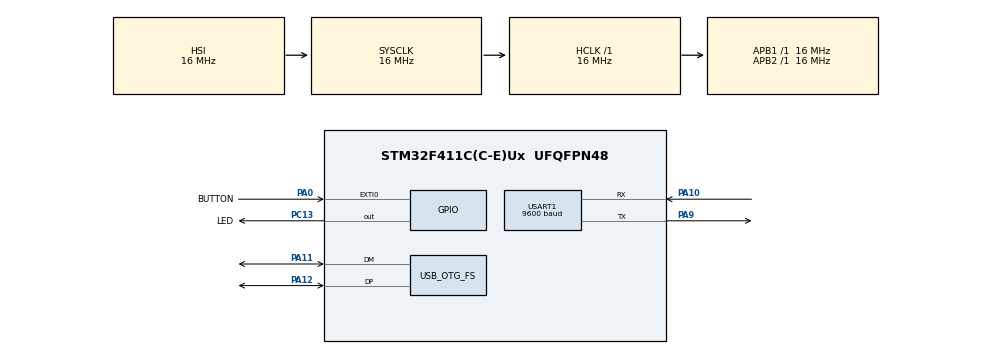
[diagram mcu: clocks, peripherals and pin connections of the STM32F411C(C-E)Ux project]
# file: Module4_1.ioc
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Mcu.Family=STM32F4
Mcu.Name=STM32F411C(C-E)Ux
Mcu.Package=UFQFPN48
NVIC.EXTI0_IRQn=true\:0\:0\:false\:false\:true\:true\:true\:true
NVIC.PriorityGroup=NVIC_PRIORITYGROUP_4
NVIC.USART1_IRQn=true\:0\:0\:false\:false\:true\:true\:true\:true
PA0-WKUP.GPIO_Label=BUTTON
PA0-WKUP.GPIO_ModeDefaultEXTI=GPIO_MODE_IT_FALLING
PA0-WKUP.GPIO_PuPd=GPIO_PULLUP
PA0-WKUP.Signal=GPXTI0
PA10.Mode=Asynchronous
PA10.Signal=USART1_RX
PA11.Mode=Device_Only
PA11.Signal=USB_OTG_FS_DM
PA12.Mode=Device_Only
PA12.Signal=USB_OTG_FS_DP
PA9.Mode=Asynchronous
PA9.Signal=USART1_TX
PC13-ANTI_TAMP.GPIO_Label=LED
PC13-ANTI_TAMP.Signal=GPIO_Output
ProjectManager.HeapSize=0x200
ProjectManager.StackSize=0x400
ProjectManager.TargetToolchain=STM32CubeIDE
RCC.AHBFreq_Value=16000000
RCC.APB1Freq_Value=16000000
RCC.APB2Freq_Value=16000000
RCC.CortexFreq_Value=16000000
RCC.HSE_VALUE=25000000
RCC.HSI_VALUE=16000000
RCC.LSE_VALUE=32768
RCC.PLLSource=RCC_PLLSOURCE_HSI
RCC.PLLSourceVirtualString=RCC_PLLSOURCE_HSI
RCC.SYSCLKFreq_VALUE=16000000
RCC.VCOOutputFreq_Value=192000000
USART1.BaudRate=9600
USART1.VirtualMode=VM_ASYNC
USB_OTG_FS.VirtualMode=Device_Only
board=custom

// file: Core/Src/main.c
/* USER CODE BEGIN Header */
/**
  * @file           : main.c
  * @brief          : STM32F411 <-> ESP32 через UART (LED + кнопка)
  */
/* USER CODE END Header */
#include "main.h"

/* USER CODE BEGIN PD */
#define CMD_LED_ON     '1'
#define CMD_LED_OFF    '0'
#define DEBOUNCE_MS    50

#define LED_ON()       HAL_GPIO_WritePin(LED_GPIO_Port, LED_Pin, GPIO_PIN_SET)
#define LED_OFF()      HAL_GPIO_WritePin(LED_GPIO_Port, LED_Pin, GPIO_PIN_RESET)
/* USER CODE END PD */

UART_HandleTypeDef huart1;

PCD_HandleTypeDef hpcd_USB_OTG_FS;

/* USER CODE BEGIN PV */
uint8_t rx_byte;

volatile uint8_t  button_pressed = 0;
volatile uint32_t last_press_time = 0;

/* USER CODE END PV */

void SystemClock_Config(void);
static void MX_GPIO_Init(void);
static void MX_USART1_UART_Init(void);
static void MX_USB_OTG_FS_PCD_Init(void);

int main(void)
{

  HAL_Init();

  SystemClock_Config();

  MX_GPIO_Init();
  MX_USART1_UART_Init();
  MX_USB_OTG_FS_PCD_Init();
  /* USER CODE BEGIN 2 */
  LED_OFF();
  HAL_UART_Receive_IT(&huart1, &rx_byte, 1);
  /* USER CODE END 2 */

  /* USER CODE BEGIN WHILE */
  uint8_t esp_led_state = 0;

  while (1)
  {
    /* USER CODE END WHILE */

    /* USER CODE BEGIN 3 */
    if (button_pressed)
    {
      button_pressed = 0;

      esp_led_state = !esp_led_state;
      uint8_t cmd = esp_led_state ? CMD_LED_ON : CMD_LED_OFF;
      HAL_UART_Transmit(&huart1, &cmd, 1, 100);
    }
  }
  /* USER CODE END 3 */
}

void SystemClock_Config(void)
{
  RCC_OscInitTypeDef RCC_OscInitStruct = {0};
  RCC_ClkInitTypeDef RCC_ClkInitStruct = {0};

  __HAL_RCC_PWR_CLK_ENABLE();
  __HAL_PWR_VOLTAGESCALING_CONFIG(PWR_REGULATOR_VOLTAGE_SCALE1);

  RCC_OscInitStruct.OscillatorType = RCC_OSCILLATORTYPE_HSI;
  RCC_OscInitStruct.HSIState = RCC_HSI_ON;
  RCC_OscInitStruct.HSICalibrationValue = RCC_HSICALIBRATION_DEFAULT;
  RCC_OscInitStruct.PLL.PLLState = RCC_PLL_ON;
  RCC_OscInitStruct.PLL.PLLSource = RCC_PLLSOURCE_HSI;
  RCC_OscInitStruct.PLL.PLLM = 16;
  RCC_OscInitStruct.PLL.PLLN = 192;
  RCC_OscInitStruct.PLL.PLLP = RCC_PLLP_DIV2;
  RCC_OscInitStruct.PLL.PLLQ = 4;
  if (HAL_RCC_OscConfig(&RCC_OscInitStruct) != HAL_OK)
  {
    Error_Handler();
  }

  RCC_ClkInitStruct.ClockType = RCC_CLOCKTYPE_HCLK|RCC_CLOCKTYPE_SYSCLK
                              |RCC_CLOCKTYPE_PCLK1|RCC_CLOCKTYPE_PCLK2;
  RCC_ClkInitStruct.SYSCLKSource = RCC_SYSCLKSOURCE_HSI;
  RCC_ClkInitStruct.AHBCLKDivider = RCC_SYSCLK_DIV1;
  RCC_ClkInitStruct.APB1CLKDivider = RCC_HCLK_DIV1;
  RCC_ClkInitStruct.APB2CLKDivider = RCC_HCLK_DIV1;

  if (HAL_RCC_ClockConfig(&RCC_ClkInitStruct, FLASH_LATENCY_0) != HAL_OK)
  {
    Error_Handler();
  }
}

static void MX_USART1_UART_Init(void)
{

  huart1.Instance = USART1;
  huart1.Init.BaudRate = 9600;
  huart1.Init.WordLength = UART_WORDLENGTH_8B;
  huart1.Init.StopBits = UART_STOPBITS_1;
  huart1.Init.Parity = UART_PARITY_NONE;
  huart1.Init.Mode = UART_MODE_TX_RX;
  huart1.Init.HwFlowCtl = UART_HWCONTROL_NONE;
  huart1.Init.OverSampling = UART_OVERSAMPLING_16;
  if (HAL_UART_Init(&huart1) != HAL_OK)
  {
    Error_Handler();
  }
}

static void MX_USB_OTG_FS_PCD_Init(void)
{

  hpcd_USB_OTG_FS.Instance = USB_OTG_FS;
  hpcd_USB_OTG_FS.Init.dev_endpoints = 4;
  hpcd_USB_OTG_FS.Init.speed = PCD_SPEED_FULL;
  hpcd_USB_OTG_FS.Init.dma_enable = DISABLE;
  hpcd_USB_OTG_FS.Init.phy_itface = PCD_PHY_EMBEDDED;
  hpcd_USB_OTG_FS.Init.Sof_enable = DISABLE;
  hpcd_USB_OTG_FS.Init.low_power_enable = DISABLE;
  hpcd_USB_OTG_FS.Init.lpm_enable = DISABLE;
  hpcd_USB_OTG_FS.Init.vbus_sensing_enable = DISABLE;
  hpcd_USB_OTG_FS.Init.use_dedicated_ep1 = DISABLE;
  if (HAL_PCD_Init(&hpcd_USB_OTG_FS) != HAL_OK)
  {
    Error_Handler();
  }
}

static void MX_GPIO_Init(void)
{
  GPIO_InitTypeDef GPIO_InitStruct = {0};

  __HAL_RCC_GPIOC_CLK_ENABLE();
  __HAL_RCC_GPIOA_CLK_ENABLE();

  HAL_GPIO_WritePin(LED_GPIO_Port, LED_Pin, GPIO_PIN_RESET);

  GPIO_InitStruct.Pin = LED_Pin;
  GPIO_InitStruct.Mode = GPIO_MODE_OUTPUT_PP;
  GPIO_InitStruct.Pull = GPIO_NOPULL;
  GPIO_InitStruct.Speed = GPIO_SPEED_FREQ_LOW;
  HAL_GPIO_Init(LED_GPIO_Port, &GPIO_InitStruct);

  GPIO_InitStruct.Pin = BUTTON_Pin;
  GPIO_InitStruct.Mode = GPIO_MODE_IT_FALLING;
  GPIO_InitStruct.Pull = GPIO_PULLUP;
  HAL_GPIO_Init(BUTTON_GPIO_Port, &GPIO_InitStruct);

  HAL_NVIC_SetPriority(EXTI0_IRQn, 0, 0);
  HAL_NVIC_EnableIRQ(EXTI0_IRQn);

}

/* USER CODE BEGIN 4 */

// Button interrupt
void HAL_GPIO_EXTI_Callback(uint16_t GPIO_Pin)
{
  if (GPIO_Pin == BUTTON_Pin)
  {
    uint32_t now = HAL_GetTick();

    if (now - last_press_time > DEBOUNCE_MS)
    {
      button_pressed = 1;
      last_press_time = now;
    }
  }
}

void HAL_UART_RxCpltCallback(UART_HandleTypeDef *huart)
{
  if (huart->Instance == USART1)
  {
    if (rx_byte == CMD_LED_ON)
    {
      LED_ON();
    }
    else if (rx_byte == CMD_LED_OFF)
    {
      LED_OFF();
    }

    HAL_UART_Receive_IT(&huart1, &rx_byte, 1);   // waiting for next byte
  }
}

void HAL_UART_ErrorCallback(UART_HandleTypeDef *huart)
{
  if (huart->Instance == USART1)
  {
    HAL_UART_Receive_IT(&huart1, &rx_byte, 1);
  }
}

/* USER CODE END 4 */

void Error_Handler(void)
{
  __disable_irq();
  while (1)
  {
  }
}
